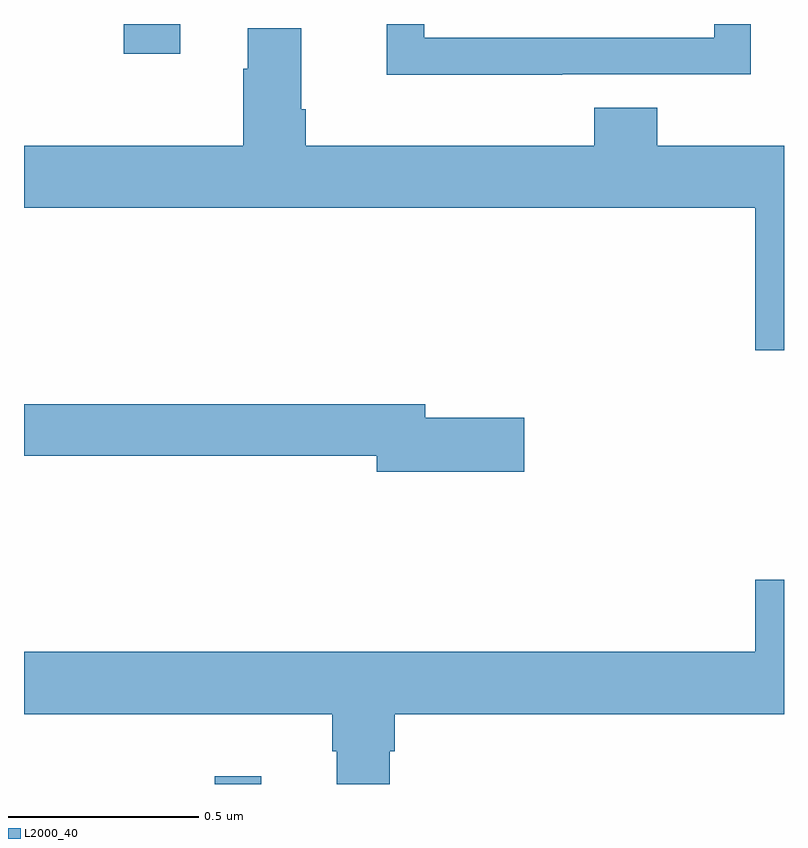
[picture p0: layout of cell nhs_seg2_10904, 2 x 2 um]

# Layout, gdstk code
import gdstk
lib = gdstk.Library(unit=1e-6, precision=1e-09)
def R(c, l, rs):  # rectangles x0, y0, x1, y1
    for r in rs: c.add(gdstk.rectangle(r[:2], r[2:], *l))
def P(c, l, *ps):  # polygons
    for p in ps: c.add(gdstk.Polygon(p, *l))
L2000_40 = (2000, 40)

nhs_seg2_10904 = lib.new_cell('nhs_seg2_10904')
R(nhs_seg2_10904, L2000_40, [(247.502,632.8,247.624,632.821), (247.263,634.722,247.411,634.8)])
P(nhs_seg2_10904, L2000_40, [(248.417,634.668),(248.913,634.668),(248.913,634.8),(248.817,634.8),(248.817,634.764),(248.053,634.764),(248.053,634.8),(247.954,634.8),(247.954,634.667),(248.417,634.667)],
  [(249,634.48),(248.666,634.48),(248.666,634.579),(248.501,634.579),(248.501,634.48),(247.742,634.48),(247.742,634.576),(247.729,634.576),(247.729,634.789),(247.589,634.789),(247.589,634.682),(247.577,634.682),(247.577,634.48),(247,634.48),(247,634.316),(248.924,634.316),(248.924,633.942),(249,633.942)],
  [(248.317,633.764),(248.056,633.764),(248.056,633.8),(247,633.8),(247,633.664),(247.928,633.664),(247.928,633.622),(248.317,633.622)],
  [(247.963,632.886),(247.976,632.886),(247.976,632.984),(249,632.984),(249,633.337),(248.924,633.337),(248.924,633.148),(247,633.148),(247,632.984),(247.811,632.984),(247.811,632.886),(247.823,632.886),(247.823,632.8),(247.963,632.8)])

lib.write_gds('nhs_seg2_10904.gds')
